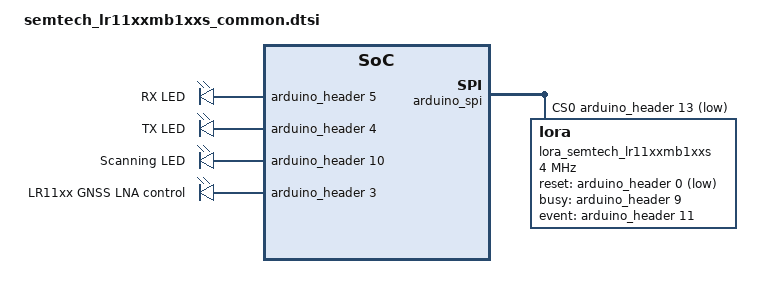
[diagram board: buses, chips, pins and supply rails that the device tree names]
/*
 * Copyright (c) 2024 Semtech Corporation
 *
 * SPDX-License-Identifier: Apache-2.0
 */

#include <zephyr/dt-bindings/lora_lbm/lr11xx.h>

/ {
	chosen {
		zephyr,lora-transceiver = &lora_semtech_lr11xxmb1xxs;
	};
	aliases {
		lora-transceiver = &lora_semtech_lr11xxmb1xxs;
	};
	leds {
		lora_rx_led: lr11xx_rx_led {
			gpios = <&arduino_header 5 GPIO_ACTIVE_HIGH>;
			label = "RX LED";
		};
		lora_tx_led: lr11xx_tx_led {
			gpios = <&arduino_header 4 GPIO_ACTIVE_HIGH>;
			label = "TX LED";
		};
		lora_scanning_led: lr11xx_scanning_led {
			gpios = <&arduino_header 10 GPIO_ACTIVE_HIGH>;
			label = "Scanning LED";
		};
		lora_gnss_lna_control: lr11xx_gnss_lna_control {
			/* Not an LED but necessary */
			gpios = <&arduino_header 3 GPIO_ACTIVE_HIGH>;
			label = "LR11xx GNSS LNA control";
		};
	};
};


&arduino_spi {
	status = "okay";

	cs-gpios = <&arduino_header 13 GPIO_ACTIVE_LOW>;

	lora_semtech_lr11xxmb1xxs: lora@0 {
		reg = <0>;
		spi-max-frequency = <DT_FREQ_M(4)>;

		reset-gpios = <&arduino_header 0 GPIO_ACTIVE_LOW>;

		busy-gpios = <&arduino_header 9 GPIO_ACTIVE_HIGH>;

		event-gpios = <&arduino_header 11 (GPIO_ACTIVE_HIGH | GPIO_PULL_DOWN)>;

		lf-tx-path = <LR11XX_TX_PATH_LF_LP_HP>;

		lf-clk = <LR11XX_LFCLK_XTAL>;
		reg-mode = <LR11XX_REG_MODE_DCDC>;

		rf-sw-enable = <(LR11XX_DIO5 | LR11XX_DIO6 | LR11XX_DIO7)>;
		rf-sw-rx-mode = <LR11XX_DIO5>;
		rf-sw-tx-mode = <(LR11XX_DIO5 | LR11XX_DIO6)>;
		rf-sw-tx-hp-mode = <LR11XX_DIO6>;
		rf-sw-gnss-mode = <LR11XX_DIO7>;

		tcxo-voltage = <LR11XX_TCXO_SUPPLY_1_8V>;
		/* Default to XTAL board */
		tcxo-wakeup-time = <0>;

		tx-power-cfg-lf-lp =
			/* power, pa_duty_cycle, pa_hp_sel */
			< (-15) 0x00 0x00>, /* Expected output power = -17dBm */
			< (-14) 0x00 0x00>, /* Expected output power = -16dBm */
			< (-13) 0x00 0x00>, /* Expected output power = -15dBm */
			< (-12) 0x00 0x00>, /* Expected output power = -14dBm */
			< (-11) 0x00 0x00>, /* Expected output power = -13dBm */
			<  (-9) 0x00 0x00>, /* Expected output power = -12dBm */
			<  (-8) 0x00 0x00>, /* Expected output power = -11dBm */
			<  (-7) 0x00 0x00>, /* Expected output power = -10dBm */
			<  (-6) 0x00 0x00>, /* Expected output power = -9dBm */
			<  (-5) 0x00 0x00>, /* Expected output power = -8dBm */
			<  (-4) 0x00 0x00>, /* Expected output power = -7dBm */
			<  (-3) 0x00 0x00>, /* Expected output power = -6dBm */
			<  (-2) 0x00 0x00>, /* Expected output power = -5dBm */
			<  (-1) 0x00 0x00>, /* Expected output power = -4dBm */
			<  ( 0) 0x00 0x00>, /* Expected output power = -3dBm */
			<  ( 1) 0x00 0x00>, /* Expected output power = -2dBm */
			<  ( 2) 0x00 0x00>, /* Expected output power = -1dBm */
			<  ( 3) 0x00 0x00>, /* Expected output power = 0dBm */
			<  ( 3) 0x01 0x00>, /* Expected output power = 1dBm */
			<  ( 4) 0x01 0x00>, /* Expected output power = 2dBm */
			<  ( 7) 0x00 0x00>, /* Expected output power = 3dBm */
			<  ( 8) 0x00 0x00>, /* Expected output power = 4dBm */
			<  ( 9) 0x00 0x00>, /* Expected output power = 5dBm */
			< ( 10) 0x00 0x00>, /* Expected output power = 6dBm */
			< ( 12) 0x00 0x00>, /* Expected output power = 7dBm */
			< ( 13) 0x00 0x00>, /* Expected output power = 8dBm */
			< ( 14) 0x00 0x00>, /* Expected output power = 9dBm */
			< ( 13) 0x01 0x00>, /* Expected output power = 10dBm */
			< ( 13) 0x02 0x00>, /* Expected output power = 11dBm */
			< ( 14) 0x02 0x00>, /* Expected output power = 12dBm */
			< ( 14) 0x03 0x00>, /* Expected output power = 13dBm */
			< ( 14) 0x04 0x00>, /* Expected output power = 14dBm */
			< ( 14) 0x07 0x00>; /* Expected output power = 15dBm */

		tx-power-cfg-lf-hp =
			/* power, pa_duty_cycle, pa_hp_sel */
			< (  9) 0x00 0x00>, /* Expected output power = -9dBm */
			< ( 10) 0x00 0x00>, /* Expected output power = -8dBm */
			< ( 11) 0x00 0x00>, /* Expected output power = -7dBm */
			< ( 12) 0x00 0x00>, /* Expected output power = -6dBm */
			< ( 13) 0x00 0x00>, /* Expected output power = -5dBm */
			< ( 13) 0x01 0x00>, /* Expected output power = -4dBm */
			< ( 13) 0x02 0x00>, /* Expected output power = -3dBm */
			< ( 17) 0x02 0x00>, /* Expected output power = -2dBm */
			< ( 14) 0x04 0x00>, /* Expected output power = -1dBm */
			< ( 12) 0x00 0x01>, /* Expected output power = 0dBm */
			< ( 13) 0x00 0x01>, /* Expected output power = 1dBm */
			< ( 13) 0x01 0x01>, /* Expected output power = 2dBm */
			< ( 13) 0x02 0x01>, /* Expected output power = 3dBm */
			< ( 15) 0x00 0x02>, /* Expected output power = 4dBm */
			< ( 15) 0x04 0x01>, /* Expected output power = 5dBm */
			< ( 14) 0x02 0x02>, /* Expected output power = 6dBm */
			< ( 14) 0x01 0x03>, /* Expected output power = 7dBm */
			< ( 17) 0x04 0x02>, /* Expected output power = 8dBm */
			< ( 22) 0x00 0x01>, /* Expected output power = 9dBm */
			< ( 22) 0x01 0x01>, /* Expected output power = 10dBm */
			< ( 22) 0x02 0x01>, /* Expected output power = 11dBm */
			< ( 22) 0x03 0x01>, /* Expected output power = 12dBm */
			< ( 22) 0x00 0x03>, /* Expected output power = 13dBm */
			< ( 22) 0x01 0x03>, /* Expected output power = 14dBm */
			< ( 22) 0x04 0x02>, /* Expected output power = 15dBm */
			< ( 22) 0x01 0x04>, /* Expected output power = 16dBm */
			< ( 22) 0x02 0x04>, /* Expected output power = 17dBm */
			< ( 22) 0x01 0x06>, /* Expected output power = 18dBm */
			< ( 22) 0x03 0x05>, /* Expected output power = 19dBm */
			< ( 22) 0x03 0x07>, /* Expected output power = 20dBm */
			< ( 22) 0x04 0x06>, /* Expected output power = 21dBm */
			< ( 22) 0x04 0x07>; /* Expected output power = 22dBm */

		tx-power-cfg-hf =
			/* power, pa_duty_cycle, pa_hp_sel */
			< (-18) 0x04 0x00>, //Expected output power = -18dBm
			< (-18) 0x04 0x00>, /* Expected output power = -17dBm */
			< (-17) 0x04 0x00>, /* Expected output power = -16dBm */
			< (-16) 0x04 0x00>, /* Expected output power = -15dBm */
			< (-15) 0x04 0x00>, /* Expected output power = -14dBm */
			< (-14) 0x04 0x00>, /* Expected output power = -13dBm */
			< (-14) 0x04 0x00>, /* Expected output power = -12dBm */
			< (-12) 0x04 0x00>, /* Expected output power = -11dBm */
			< (-10) 0x04 0x00>, /* Expected output power = -10dBm */
			< ( -9) 0x04 0x00>, /* Expected output power = -9dBm */
			< ( -8) 0x04 0x00>, /* Expected output power = -8dBm */
			< ( -7) 0x04 0x00>, /* Expected output power = -7dBm */
			< ( -6) 0x04 0x00>, /* Expected output power = -6dBm */
			< ( -5) 0x04 0x00>, /* Expected output power = -5dBm */
			< ( -4) 0x04 0x00>, /* Expected output power = -4dBm */
			< ( -3) 0x04 0x00>, /* Expected output power = -3dBm */
			< ( -2) 0x03 0x00>, /* Expected output power = -2dBm */
			< ( -1) 0x04 0x00>, /* Expected output power = -1dBm */
			< (  0) 0x04 0x00>, /* Expected output power = 0dBm */
			< (  1) 0x00 0x00>, /* Expected output power = 1dBm */
			< (  2) 0x00 0x00>, /* Expected output power = 2dBm */
			< (  4) 0x04 0x00>, /* Expected output power = 3dBm */
			< (  5) 0x04 0x00>, /* Expected output power = 4dBm */
			< (  6) 0x04 0x00>, /* Expected output power = 5dBm */
			< (  7) 0x04 0x00>, /* Expected output power = 6dBm */
			< (  8) 0x04 0x00>, /* Expected output power = 7dBm */
			< (  9) 0x04 0x00>, /* Expected output power = 8dBm */
			< ( 10) 0x04 0x00>, /* Expected output power = 9dBm */
			< ( 11) 0x04 0x00>, /* Expected output power = 10dBm */
			< ( 12) 0x03 0x00>, /* Expected output power = 11dBm */
			< ( 13) 0x04 0x00>, /* Expected output power = 12dBm */
			< ( 13) 0x00 0x00>; /* Expected output power = 13dBm */


		/* Tune is G4 G5 G6 G7 G8 G9 G10 G11 G12 G13
		 * G13hp1 G13hp2 G13hp3 G13hp4 G13hp5 G13hp6 G13hp7
		 */
		rssi-calibration-lf-offset = <0>;
		rssi-calibration-lf-tune = <12 12 14 0 1 3 4 4 3 6 6 6 6 6 6 6 6>;

		rssi-calibration-mf-offset = <0>;
		rssi-calibration-mf-tune = <2 2 2 3 3 4 5 4 4 6 5 5 6 6 6 7 6>;

		rssi-calibration-hf-offset = <2030>;
		rssi-calibration-hf-tune = <6 7 6 4 3 4 14 12 14 12 12 12 12 8 8 9 9>;

	};
};
